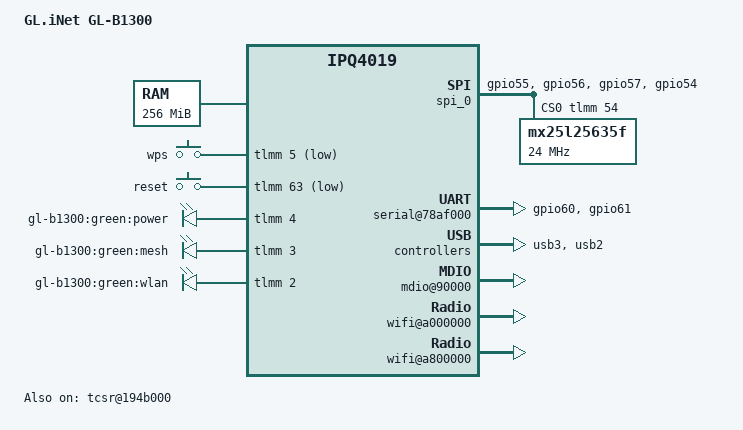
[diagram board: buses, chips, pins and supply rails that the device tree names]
/* Copyright (c) 2015, The Linux Foundation. All rights reserved.
 *
 * Permission to use, copy, modify, and/or distribute this software for any
 * purpose with or without fee is hereby granted, provided that the above
 * copyright notice and this permission notice appear in all copies.
 *
 * THE SOFTWARE IS PROVIDED "AS IS" AND THE AUTHOR DISCLAIMS ALL WARRANTIES
 * WITH REGARD TO THIS SOFTWARE INCLUDING ALL IMPLIED WARRANTIES OF
 * MERCHANTABILITY AND FITNESS. IN NO EVENT SHALL THE AUTHOR BE LIABLE FOR
 * ANY SPECIAL, DIRECT, INDIRECT, OR CONSEQUENTIAL DAMAGES OR ANY DAMAGES
 * WHATSOEVER RESULTING FROM LOSS OF USE, DATA OR PROFITS, WHETHER IN AN
 * ACTION OF CONTRACT, NEGLIGENCE OR OTHER TORTIOUS ACTION, ARISING OUT OF
 * OR IN CONNECTION WITH THE USE OR PERFORMANCE OF THIS SOFTWARE.
 *
 */

#include "qcom-ipq4019.dtsi"
#include <dt-bindings/gpio/gpio.h>
#include <dt-bindings/input/input.h>
#include <dt-bindings/soc/qcom,tcsr.h>

/ {
	model = "GL.iNet GL-B1300";
	compatible = "glinet,gl-b1300", "qcom,ipq4019";

	memory {
		device_type = "memory";
		reg = <0x80000000 0x10000000>;
	};

	reserved-memory {
		#address-cells = <0x1>;
		#size-cells = <0x1>;
		ranges;

		apps_bl@87000000 {
			reg = <0x87000000 0x400000>;
			no-map;
		};

		sbl@87400000 {
			reg = <0x87400000 0x100000>;
			no-map;
		};

		cnss_debug@87500000 {
			reg = <0x87500000 0x600000>;
			no-map;
		};

		cpu_context_dump@87b00000 {
			reg = <0x87b00000 0x080000>;
			no-map;
		};

		tz_apps@87b80000 {
			reg = <0x87b80000 0x280000>;
			no-map;
		};

		smem@87e00000 {
			reg = <0x87e00000 0x080000>;
			no-map;
		};

		tz@87e80000 {
			reg = <0x87e80000 0x180000>;
			no-map;
		};
	};

	soc {
		tcsr@194b000 {
			/* select hostmode */
			compatible = "qcom,tcsr";
			reg = <0x194b000 0x100>;
			qcom,usb-hsphy-mode-select = <TCSR_USB_HSPHY_HOST_MODE>;
			status = "ok";
		};

		ess_tcsr@1953000 {
			compatible = "qcom,tcsr";
			reg = <0x1953000 0x1000>;
			qcom,ess-interface-select = <TCSR_ESS_PSGMII>;
		};

		tcsr@1949000 {
			compatible = "qcom,tcsr";
			reg = <0x1949000 0x100>;
			qcom,wifi_glb_cfg = <TCSR_WIFI_GLB_CFG>;
		};

		tcsr@1957000 {
			compatible = "qcom,tcsr";
			reg = <0x1957000 0x100>;
			qcom,wifi_noc_memtype_m0_m2 = <TCSR_WIFI_NOC_MEMTYPE_M0_M2>;
		};

		pinctrl@1000000 {
			serial_pins: serial_pinmux {
				mux {
					pins = "gpio60", "gpio61";
					function = "blsp_uart0";
					bias-disable;
				};
			};

			spi_0_pins: spi_0_pinmux {
				pinmux {
					function = "blsp_spi0";
					pins = "gpio55", "gpio56", "gpio57";
				};
				pinmux_cs {
					function = "gpio";
					pins = "gpio54";
				};
				pinconf {
					pins = "gpio55", "gpio56", "gpio57";
					drive-strength = <12>;
					bias-disable;
				};
				pinconf_cs {
					pins = "gpio54";
					drive-strength = <2>;
					bias-disable;
					output-high;
				};
			};
		};

		blsp_dma: dma@7884000 {
			status = "ok";
		};

		spi_0: spi@78b5000 {
			pinctrl-0 = <&spi_0_pins>;
			pinctrl-names = "default";
			status = "ok";
			cs-gpios = <&tlmm 54 0>;
		};

		serial@78af000 {
			pinctrl-0 = <&serial_pins>;
			pinctrl-names = "default";
			status = "ok";
		};

		cryptobam: dma@8e04000 {
			status = "ok";
		};

		crypto@8e3a000 {
			status = "ok";
		};

		watchdog@b017000 {
			status = "ok";
		};

		usb3_ss_phy: ssphy@9a000 {
			status = "ok";
		};

		usb3_hs_phy: hsphy@a6000 {
			status = "ok";
		};

		usb3: usb3@8af8800 {
			status = "ok";
		};

		usb2_hs_phy: hsphy@a8000 {
			status = "ok";
		};

		usb2: usb2@60f8800 {
			status = "ok";
		};

		mdio@90000 {
			status = "okay";
		};

		ess-switch@c000000 {
			status = "okay";
		};

		ess-psgmii@98000 {
			status = "okay";
		};

		edma@c080000 {
			status = "okay";
		};

		wifi@a000000 {
			status = "okay";
		};

		wifi@a800000 {
			status = "okay";
		};
	};

	gpio-keys {
		compatible = "gpio-keys";

		wps {
			label = "wps";
			gpios = <&tlmm 5 GPIO_ACTIVE_LOW>;
			linux,code = <KEY_WPS_BUTTON>;
		};
		reset {
			label = "reset";
			gpios = <&tlmm 63 GPIO_ACTIVE_LOW>;
			linux,code = <KEY_RESTART>;
		};
	};

	gpio-leds {
		compatible = "gpio-leds";

		power {
			label = "gl-b1300:green:power";
			gpios = <&tlmm 4 GPIO_ACTIVE_HIGH>;
			default-state = "on";
		};
		mesh {
			label = "gl-b1300:green:mesh";
			gpios = <&tlmm 3 GPIO_ACTIVE_HIGH>;
		};
		wlan {
			label = "gl-b1300:green:wlan";
			gpios = <&tlmm 2 GPIO_ACTIVE_HIGH>;
		};
	};
};

&spi_0 {
	mx25l25635f@0 {
		compatible = "mx25l25635f", "jedec,spi-nor";
		#address-cells = <1>;
		#size-cells = <1>;
		reg = <0>;
		spi-max-frequency = <24000000>;

		SBL1@0 {
			label = "SBL1";
			reg = <0x0 0x40000>;
			read-only;
		};
		MIBIB@40000 {
			label = "MIBIB";
			reg = <0x40000 0x20000>;
			read-only;
		};
		QSEE@60000 {
			label = "QSEE";
			reg = <0x60000 0x60000>;
			read-only;
		};
		CDT@c0000 {
			label = "CDT";
			reg = <0xc0000 0x10000>;
			read-only;
		};
		DDRPARAMS@d0000 {
			label = "DDRPARAMS";
			reg = <0xd0000 0x10000>;
			read-only;
		};
		APPSBLENV@e0000 {
			label = "APPSBLENV";
			reg = <0xe0000 0x10000>;
			read-only;
		};
		APPSBL@f0000 {
			label = "APPSBL";
			reg = <0xf0000 0x80000>;
			read-only;
		};
		ART@170000 {
			label = "ART";
			reg = <0x170000 0x10000>;
			read-only;
		};
		kernel@180000 {
			label = "kernel";
			reg = <0x180000 0x400000>;
		};
		rootfs@580000 {
			label = "rootfs";
			reg = <0x580000 0x1a80000>;
		};
		firmware@180000 {
			label = "firmware";
			reg = <0x180000 0x1e80000>;
		};
	};
};

&gmac0 {
	qcom,phy_mdio_addr = <4>;
	qcom,poll_required = <1>;
	qcom,forced_speed = <1000>;
	qcom,forced_duplex = <1>;
	vlan_tag = <2 0x20>;
};

&gmac1 {
	qcom,phy_mdio_addr = <3>;
	qcom,poll_required = <1>;
	qcom,forced_speed = <1000>;
	qcom,forced_duplex = <1>;
	vlan_tag = <1 0x10>;
};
